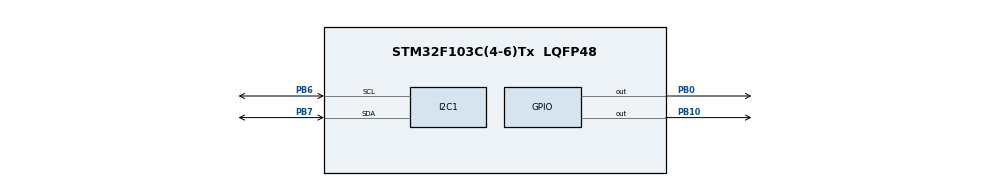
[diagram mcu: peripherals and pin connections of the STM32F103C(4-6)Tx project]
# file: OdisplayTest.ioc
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Mcu.Family=STM32F1
RCC.APB2Freq_Value=8000000
PA14.Mode=Serial_Wire
PB7.Signal=I2C1_SDA
PA13.Mode=Serial_Wire
Mcu.Name=STM32F103C(4-6)Tx
Mcu.Package=LQFP48
ProjectManager.StackSize=0x400
PA13.Signal=SYS_JTMS-SWDIO
PB7.Mode=I2C
PA14.Signal=SYS_JTCK-SWCLK
ProjectManager.HeapSize=0x200
ProjectManager.TargetToolchain=STM32CubeIDE
NVIC.PriorityGroup=NVIC_PRIORITYGROUP_4
PB6.Signal=I2C1_SCL
PB6.Mode=I2C
RCC.APB1Freq_Value=8000000
PB0.Signal=GPIO_Output
PB10.Signal=GPIO_Output
board=custom

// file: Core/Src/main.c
/* USER CODE BEGIN Header */
/**
  ******************************************************************************
  * @file           : main.c
  * @brief          : Main program body
  ******************************************************************************
  * @attention
  *
  * <h2><center>&copy; Copyright (c) 2026 STMicroelectronics.
  * All rights reserved.</center></h2>
  *
  * This software component is licensed by ST under BSD 3-Clause license.
  *
  ******************************************************************************
  */
/* USER CODE END Header */

#include "main.h"

/* USER CODE BEGIN Includes */
#include <stdlib.h>
#include "ssd1306.h"
/* USER CODE END Includes */

I2C_HandleTypeDef hi2c1;

/* USER CODE BEGIN PV */

/* ECG waveform (single, realistic line) */
const int8_t ecgWave[] = {
    0,0,1,2,3,2,1,0,
    -1,-3,18,-6,-2,0,
    1,2,1,0,
    0,0,0,0,0
};

#define ECG_LEN (sizeof(ecgWave)/sizeof(ecgWave[0]))

static int baseline = 32;
static int offset   = 0;

/* USER CODE END PV */

void SystemClock_Config(void);
static void MX_GPIO_Init(void);
static void MX_I2C1_Init(void);

/* USER CODE BEGIN PFP */
void ECG_Init(void);
void ECG_DrawFrame(void);
void ECG_Update(void);
/* USER CODE END PFP */

/* USER CODE BEGIN 0 */

/* Initialize ECG display */
void ECG_Init(void)
{
    ssd1306_Init(&hi2c1);
    srand(HAL_GetTick());
}

/* Draw one ECG frame */
void ECG_DrawFrame(void)
{
    int prevY = baseline;

    for (int x = 0; x < 128; x++)
    {
        int idx = (x + offset) % ECG_LEN;

        /* small controlled noise */
        int noise = (rand() % 3) - 1;

        int y = baseline - ecgWave[idx] + noise;

        if (y < 0)  y = 0;
        if (y > 63) y = 63;

        /* smooth line (no steep jumps) */
        if (y > prevY)
        {
            for (int py = prevY; py <= y; py++)
                ssd1306_DrawPixel(x, py, White);
        }
        else
        {
            for (int py = y; py <= prevY; py++)
                ssd1306_DrawPixel(x, py, White);
        }

        prevY = y;
    }
}

/* Update ECG animation */
void ECG_Update(void)
{
    ssd1306_Fill(Black);
    ECG_DrawFrame();
    ssd1306_UpdateScreen(&hi2c1);

    offset++;
    HAL_Delay(35);
}

/* USER CODE END 0 */

int main(void)
{
  HAL_Init();
  SystemClock_Config();
  MX_GPIO_Init();
  MX_I2C1_Init();

  /* USER CODE BEGIN 2 */
  ECG_Init();
  /* USER CODE END 2 */

  /* Infinite loop */
  while (1)
  {
      ECG_Update();
  }
}

/* ================= STM32 AUTO-GENERATED CODE BELOW ================= */

void SystemClock_Config(void)
{
  RCC_OscInitTypeDef RCC_OscInitStruct = {0};
  RCC_ClkInitTypeDef RCC_ClkInitStruct = {0};

  RCC_OscInitStruct.OscillatorType = RCC_OSCILLATORTYPE_HSI;
  RCC_OscInitStruct.HSIState = RCC_HSI_ON;
  RCC_OscInitStruct.HSICalibrationValue = RCC_HSICALIBRATION_DEFAULT;
  RCC_OscInitStruct.PLL.PLLState = RCC_PLL_NONE;
  HAL_RCC_OscConfig(&RCC_OscInitStruct);

  RCC_ClkInitStruct.ClockType = RCC_CLOCKTYPE_HCLK|RCC_CLOCKTYPE_SYSCLK
                              |RCC_CLOCKTYPE_PCLK1|RCC_CLOCKTYPE_PCLK2;
  RCC_ClkInitStruct.SYSCLKSource = RCC_SYSCLKSOURCE_HSI;
  RCC_ClkInitStruct.AHBCLKDivider = RCC_SYSCLK_DIV1;
  RCC_ClkInitStruct.APB1CLKDivider = RCC_HCLK_DIV1;
  RCC_ClkInitStruct.APB2CLKDivider = RCC_HCLK_DIV1;
  HAL_RCC_ClockConfig(&RCC_ClkInitStruct, FLASH_LATENCY_0);
}

static void MX_I2C1_Init(void)
{
  hi2c1.Instance = I2C1;
  hi2c1.Init.ClockSpeed = 100000;
  hi2c1.Init.DutyCycle = I2C_DUTYCYCLE_2;
  hi2c1.Init.OwnAddress1 = 0;
  hi2c1.Init.AddressingMode = I2C_ADDRESSINGMODE_7BIT;
  hi2c1.Init.DualAddressMode = I2C_DUALADDRESS_DISABLE;
  hi2c1.Init.OwnAddress2 = 0;
  hi2c1.Init.GeneralCallMode = I2C_GENERALCALL_DISABLE;
  hi2c1.Init.NoStretchMode = I2C_NOSTRETCH_DISABLE;
  HAL_I2C_Init(&hi2c1);
}

static void MX_GPIO_Init(void)
{
  __HAL_RCC_GPIOA_CLK_ENABLE();
  __HAL_RCC_GPIOB_CLK_ENABLE();
}

void Error_Handler(void)
{
  __disable_irq();
  while (1) {}
}
